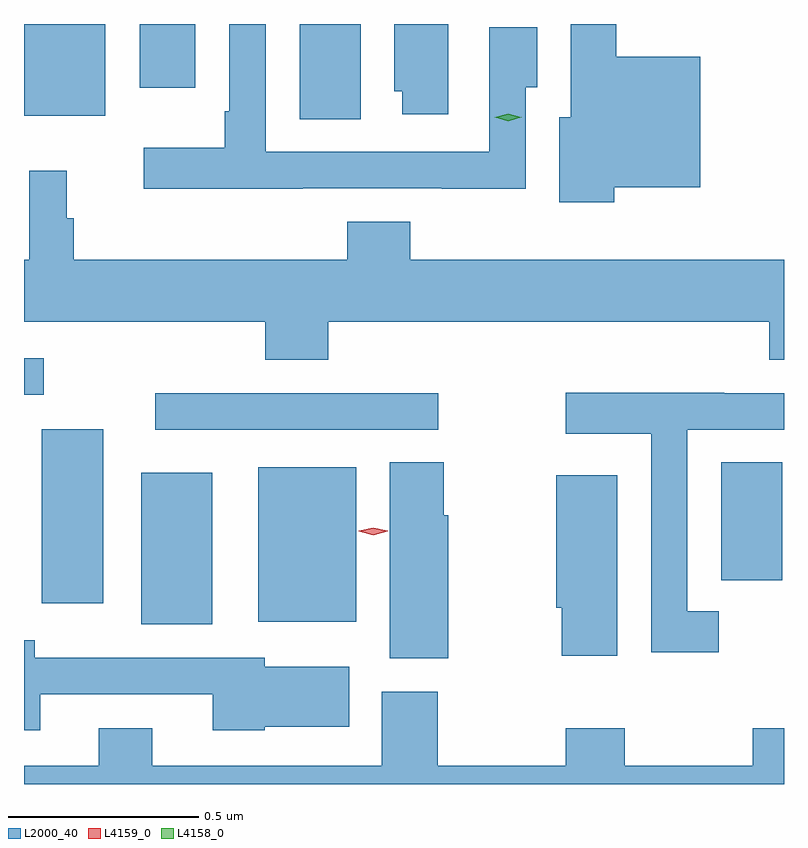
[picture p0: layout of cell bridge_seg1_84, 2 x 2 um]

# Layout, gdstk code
import gdstk
lib = gdstk.Library(unit=1e-6, precision=1e-09)
def R(c, l, rs):  # rectangles x0, y0, x1, y1
    for r in rs: c.add(gdstk.rectangle(r[:2], r[2:], *l))
def P(c, l, *ps):  # polygons
    for p in ps: c.add(gdstk.Polygon(p, *l))
L2000_40 = (2000, 40)
L4158_0 = (4158, 0)
L4159_0 = (4159, 0)

bridge_seg1_84 = lib.new_cell('bridge_seg1_84')
R(bridge_seg1_84, L2000_40, [(508.13,520.301,508.318,520.699), (508.439,520.307,508.696,520.714), (507.869,520.356,508.03,520.813), (509.657,520.416,509.818,520.727), (508.167,520.812,508.912,520.908), (507.822,520.905,507.874,521.001), (508.547,521.629,508.708,521.88), (507.822,521.639,508.036,521.88), (508.127,521.712,508.273,521.88)])
P(bridge_seg1_84, L2000_40, [(508.939,521.88),(508.796,521.88),(508.796,521.703),(508.817,521.703),(508.817,521.643),(508.939,521.643)],
  [(509.375,521.45),(509.602,521.45),(509.602,521.794),(509.38,521.794),(509.38,521.88),(509.261,521.88),(509.261,521.635),(509.231,521.635),(509.231,521.411),(509.375,521.411)],
  [(508.555,521.448),(508.921,521.448),(508.921,521.447),(509.142,521.447),(509.142,521.713),(509.173,521.713),(509.173,521.871),(509.046,521.871),(509.046,521.544),(508.458,521.544),(508.458,521.88),(508.362,521.88),(508.362,521.65),(508.35,521.65),(508.35,521.554),(508.137,521.554),(508.137,521.447),(508.555,521.447)],
  [(508.622,521.096),(509.783,521.096),(509.783,520.997),(509.822,520.997),(509.822,521.26),(508.838,521.26),(508.838,521.359),(508.673,521.359),(508.673,521.26),(507.953,521.26),(507.953,521.369),(507.935,521.369),(507.935,521.494),(507.836,521.494),(507.836,521.26),(507.822,521.26),(507.822,521.096),(508.457,521.096),(508.457,520.997),(508.622,520.997)],
  [(509.65,520.335),(509.568,520.335),(509.568,520.812),(509.822,520.812),(509.822,520.908),(509.665,520.908),(509.665,520.91),(509.247,520.91),(509.247,520.802),(509.472,520.802),(509.472,520.227),(509.65,520.227)],
  [(508.939,520.587),(508.926,520.587),(508.926,520.727),(508.784,520.727),(508.784,520.211),(508.939,520.211)],
  [(509.383,520.693),(509.222,520.693),(509.222,520.344),(509.237,520.344),(509.237,520.218),(509.383,520.218)],
  [(507.865,520.116),(508.319,520.116),(508.319,520.022),(508.455,520.022),(508.455,520.031),(508.678,520.031),(508.678,520.189),(508.455,520.189),(508.455,520.212),(507.85,520.212),(507.85,520.258),(507.822,520.258),(507.822,520.022),(507.865,520.022)],
  [(509.822,520.027),(509.74,520.027),(509.74,519.928),(509.403,519.928),(509.403,520.027),(509.248,520.027),(509.248,519.928),(508.911,519.928),(508.911,520.123),(508.763,520.123),(508.763,519.928),(508.159,519.928),(508.159,520.027),(508.019,520.027),(508.019,519.928),(507.822,519.928),(507.822,519.88),(509.822,519.88)])
P(bridge_seg1_84, L4158_0, [(509.096,521.624),(509.061,521.634),(509.061,521.634),(509.061,521.634),(509.096,521.644),(509.131,521.634),(509.132,521.634),(509.131,521.634)])
P(bridge_seg1_84, L4159_0, [(508.741,520.535),(508.703,520.545),(508.703,520.545),(508.703,520.546),(508.741,520.555),(508.779,520.546),(508.779,520.545),(508.779,520.545)])

lib.write_gds('bridge_seg1_84.gds')
